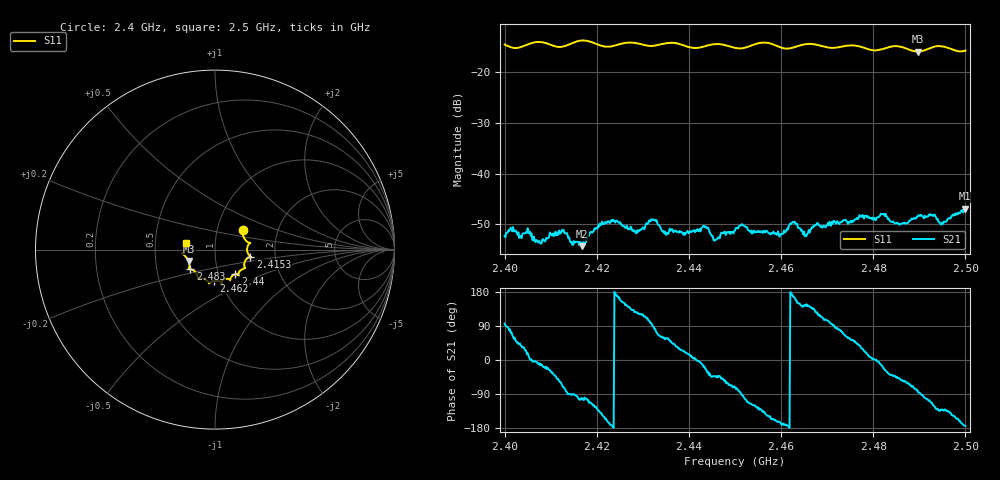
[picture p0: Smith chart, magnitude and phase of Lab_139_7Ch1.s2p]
# Hz S RI R 50
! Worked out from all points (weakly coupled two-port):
!   601 points, 2.4 GHz to 2.5 GHz, reference 50 ohm
!   highest |S21| = -46.95 dB at 2.4998 GHz (marker M1); lowest = -54.3 dB at 2.4168 GHz (marker M2)
!   lowest |S11| = -15.9 dB at 2.4897 GHz (marker M3), VSWR 1.38, Z = 36.9 - j4.82 ohm
!   |S11| at or under -10 dB: start of sweep to end of sweep
!   S12 and S22 are empty: the file has one direction only
!   S11 on the Smith chart (normalised r, x): 2.4 GHz: 1.33, +0.29; 2.4153 GHz: 1.48, -0.12; 2.44 GHz: 1.21, -0.34; 2.462 GHz: 0.93, -0.33; 2.483 GHz: 0.74, -0.17; 2.5 GHz: 0.72, +0.06
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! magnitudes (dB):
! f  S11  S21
! 2.4 GHz  -14.5  -52.3
! 2.4075 GHz  -14.0  -53.3
! 2.4123 GHz  -14.9  -51.4
! 2.4153 GHz  -14.0  -53.6
! 2.4167 GHz  -13.7  -53.7
! 2.4168 GHz  -13.7  -54.3
! 2.4222 GHz  -14.9  -49.8
! 2.4287 GHz  -14.2  -51.8
! 2.4333 GHz  -14.6  -50.1
! 2.44 GHz  -15.0  -51.8
! 2.4437 GHz  -14.8  -50.5
! 2.4458 GHz  -14.4  -53.1
! 2.45 GHz  -15.1  -51.3
! 2.46 GHz  -15.1  -51.9
! 2.462 GHz  -15.2  -49.9
! 2.4667 GHz  -14.4  -50.8
! 2.483 GHz  -15.1  -48.6
! 2.4833 GHz  -15.0  -48.9
! 2.4897 GHz  -15.9  -48.5
! 2.495 GHz  -14.8  -49.6
! 2.4998 GHz  -15.7  -46.9
! 2.5 GHz  -15.7  -47.3
